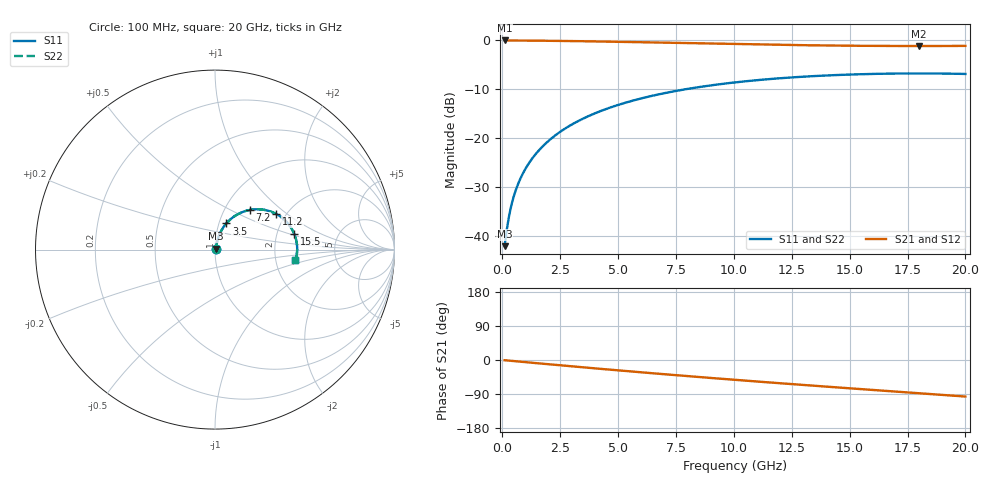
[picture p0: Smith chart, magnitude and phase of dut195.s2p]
! Touchstone file exported from HFSS 2026.1.0
!  File:  C:/ffzhzh/LocalFiles/Ansys_Project_Files/temp_train_TSV_RDL_195_1783059131_46780.aedt
!  Generated:  02:21:29 PM Jul  3, 2026
!  Design:  TSV_RDL
!  Project:  temp_train_TSV_RDL_195_1783059131_46780
! Variables:
!  h_bsmrdl = 3.39um
!  h_ox = 20um
!  h_rdl = 5um
!  h_sub = 96.84um
!  h_tmrdl = 5.96um
!  h_tsv = 96.84um
!  h_via = 3um
!  l_bsmrdl = 107.1um
!  l_sub = 1408.47um
!  l_tmrdl = 142.28um
!  m_sub = 200um
!  pitch = 58.46um
!  r_tsv = 10.05um
!  s_tmrdl = 10um
!  w_bsmrdl = 10.93um
!  w_sub = 500um
!  w_tmrdl = 28.42um
!  x_tsv_center1 = 156.49um
!  x_tsv_center2 = 274.52um
!  x_tsv_center3 = 445.22um
!  x_tsv_center4 = 563.25um
!  x_tsv_center5 = 733.95um
!  x_tsv_center6 = 851.98um
# GHz S MA R 50.000000
! Terminal data exported
! Port[1] = TM_RDL1_1_T1
! Port[2] = TM_RDL5_1_T1
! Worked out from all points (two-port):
!   200 points, 100 MHz to 20 GHz, reference 50 ohm
!   highest |S21| = -0.05 dB at 100 MHz (marker M1); lowest = -1.2 dB at 18 GHz (marker M2)
!   |S21| within 3 dB of the highest: start of sweep to end of sweep
!   lowest |S11| = -42.0 dB at 100 MHz (marker M3), VSWR 1.02, Z = 50.6 + j0.512 ohm
!   |S11| at or under -10 dB: start of sweep to 7.928 GHz
!   |S22| runs from -42.0 to -6.8 dB; largest |S21 - S12| = 4.6e-15
!   S11 on the Smith chart (normalised r, x): 100 MHz: 1.01, +0.01; 3.5 GHz: 1.08, +0.32; 7.2 GHz: 1.31, +0.63; 11.2 GHz: 1.78, +0.84; 15.5 GHz: 2.49, +0.56; 20 GHz: 2.58, -0.39
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0.1  0.007904 39.7  0.994 -0.6  0.994 -0.6  0.007904 39.7
! Gamma 0 0 0 0
! Port Impedance 50 0 50 0
0.2  0.01191 57.4  0.9937 -1.2  0.9937 -1.2  0.01191 57.4
0.3  0.01644 65.1  0.9934 -1.7  0.9934 -1.7  0.01644 65.1
0.4  0.02107 69.0  0.993 -2.3  0.993 -2.3  0.02107 69.0
0.5  0.0257 71.3  0.9927 -2.9  0.9927 -2.9  0.0257 71.3
0.6  0.03032 72.7  0.9923 -3.4  0.9923 -3.4  0.03032 72.7
0.8  0.03952 74.3  0.9916 -4.6  0.9916 -4.6  0.03952 74.3
1.1  0.05326 75.0  0.9905 -6.2  0.9905 -6.2  0.05326 75.0
1.6  0.07602 74.3  0.9884 -9.0  0.9884 -9.0  0.07602 74.3
2.1  0.09849 72.7  0.9858 -11.8  0.9858 -11.8  0.09849 72.7
2.7  0.1249 70.3  0.982 -15.0  0.982 -15.0  0.1249 70.3
3.5  0.1589 66.6  0.9761 -19.4  0.9761 -19.4  0.1589 66.6
5  0.2183 59.3  0.963 -27.3  0.963 -27.3  0.2183 59.3
6.8  0.2815 50.6  0.9453 -36.5  0.9453 -36.5  0.2815 50.6
7.2  0.2943 48.7  0.9412 -38.6  0.9412 -38.6  0.2943 48.7
10.1  0.3721 35.1  0.9124 -52.6  0.9124 -52.6  0.3721 35.1
11.2  0.3948 30.1  0.9027 -57.7  0.9027 -57.7  0.3948 30.2
13.4  0.4295 20.5  0.8866 -67.6  0.8866 -67.6  0.4295 20.5
15.5  0.4497 11.4  0.8766 -76.9  0.8766 -76.9  0.4497 11.5
16.7  0.4558 6.4  0.8734 -82.1  0.8734 -82.1  0.4558 6.4
18  0.458 0.9  0.8722 -87.7  0.8722 -87.7  0.458 0.9
20  0.4524 -7.6  0.8748 -96.4  0.8748 -96.4  0.4524 -7.6
